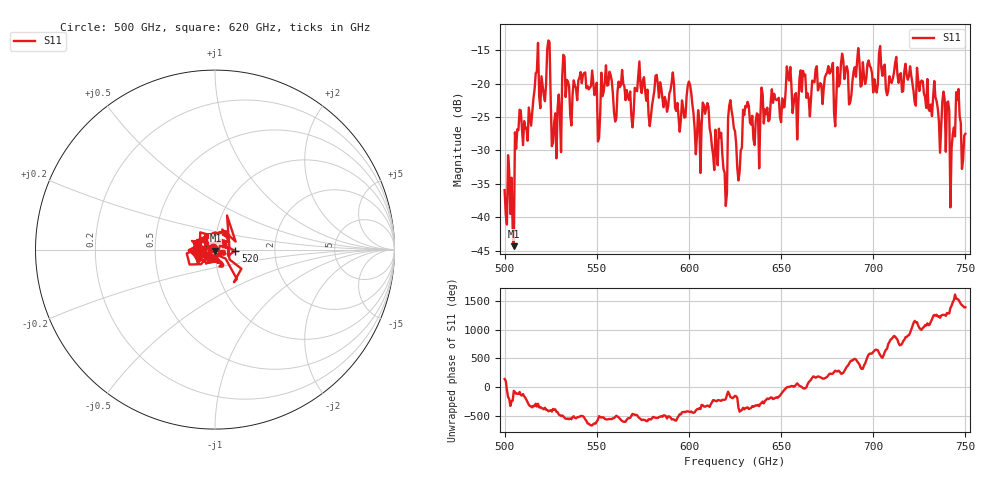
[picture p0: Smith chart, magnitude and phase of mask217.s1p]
!Created with skrf (http://scikit-rf.org).
# GHz S MA R 50.0
!freq magS11 angS11
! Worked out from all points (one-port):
!   401 points, 500 GHz to 750 GHz, reference 50 ohm
!   lowest |S11| = -44.3 dB at 505 GHz (marker M1), VSWR 1.01, Z = 50.3 - j0.549 ohm
!   |S11| at or under -10 dB: start of sweep to end of sweep
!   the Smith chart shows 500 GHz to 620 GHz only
!   S11 on the Smith chart (normalised r, x): 500 GHz: 0.97, +0.02; 520 GHz: 1.26, -0.02; 620 GHz: 0.98, +0.01
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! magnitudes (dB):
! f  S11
! 500 GHz  -35.9
! 505 GHz  -44.3
! 508.1 GHz  -23.9
! 520 GHz  -18.9
! 523.8 GHz  -13.5
! 526.9 GHz  -25.8
! 531.2 GHz  -19.0
! 542.5 GHz  -18.7
! 550.6 GHz  -28.7
! 562.5 GHz  -20.5
! 590.6 GHz  -19.9
! 593.8 GHz  -22.9
! 600 GHz  -19.7
! 605 GHz  -24.0
! 609.4 GHz  -23.7
! 620 GHz  -38.3
! 622.5 GHz  -22.5
! 625 GHz  -27.1
! 627.5 GHz  -33.2
! 630.6 GHz  -23.3
! 636.9 GHz  -24.5
! 656.2 GHz  -24.4
! 687.5 GHz  -22.8
! 718.8 GHz  -19.4
! 739.4 GHz  -30.2
! 743.1 GHz  -27.6
! 746.2 GHz  -20.8
! 750 GHz  -27.5
